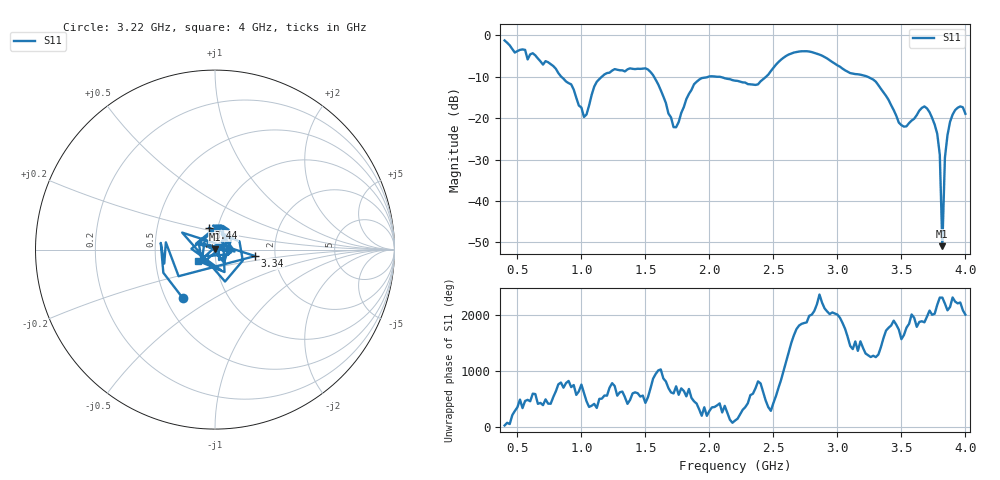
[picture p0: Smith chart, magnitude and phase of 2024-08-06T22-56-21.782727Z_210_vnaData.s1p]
!Created with skrf (http://scikit-rf.org).
# Hz S RI R 50.0
!freq ReS11 ImS11
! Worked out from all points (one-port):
!   181 points, 400 MHz to 4 GHz, reference 50 ohm
!   lowest |S11| = -50.9 dB at 3.82 GHz (marker M1), VSWR 1.01, Z = 49.7 + j0.099 ohm
!   |S11| at or under -10 dB: 1.568 GHz to 1.989 GHz (421.7 MHz wide, 23.7 % of centre); 2.084 GHz to 2.442 GHz (357.2 MHz wide, 15.8 % of centre); 3.238 GHz to end of sweep (the widest 3 of 4)
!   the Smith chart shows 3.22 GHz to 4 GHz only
!   S11 on the Smith chart (normalised r, x): 3.22 GHz: 0.61, -0.37; 3.34 GHz: 1.57, -0.12; 3.44 GHz: 0.91, +0.22; 4 GHz: 0.82, -0.10
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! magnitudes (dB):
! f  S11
! 400 MHz  -1.2
! 860 MHz  -10.4
! 920 MHz  -11.8
! 1.02 GHz  -19.7
! 1.12 GHz  -11.2
! 1.3 GHz  -8.4
! 1.52 GHz  -8.2
! 1.6 GHz  -11.8
! 1.72 GHz  -22.2
! 1.76 GHz  -20.9
! 1.92 GHz  -10.7
! 2.2 GHz  -10.9
! 2.38 GHz  -11.8
! 2.66 GHz  -4.1
! 3.1 GHz  -9.1
! 3.22 GHz  -9.8
! 3.34 GHz  -12.9
! 3.44 GHz  -18.0
! 3.5 GHz  -21.7
! 3.56 GHz  -21.2
! 3.68 GHz  -17.1
! 3.78 GHz  -23.7
! 3.8 GHz  -28.8
! 3.82 GHz  -50.9
! 3.84 GHz  -29.5
! 3.86 GHz  -24.1
! 3.92 GHz  -18.0
! 4 GHz  -18.9
